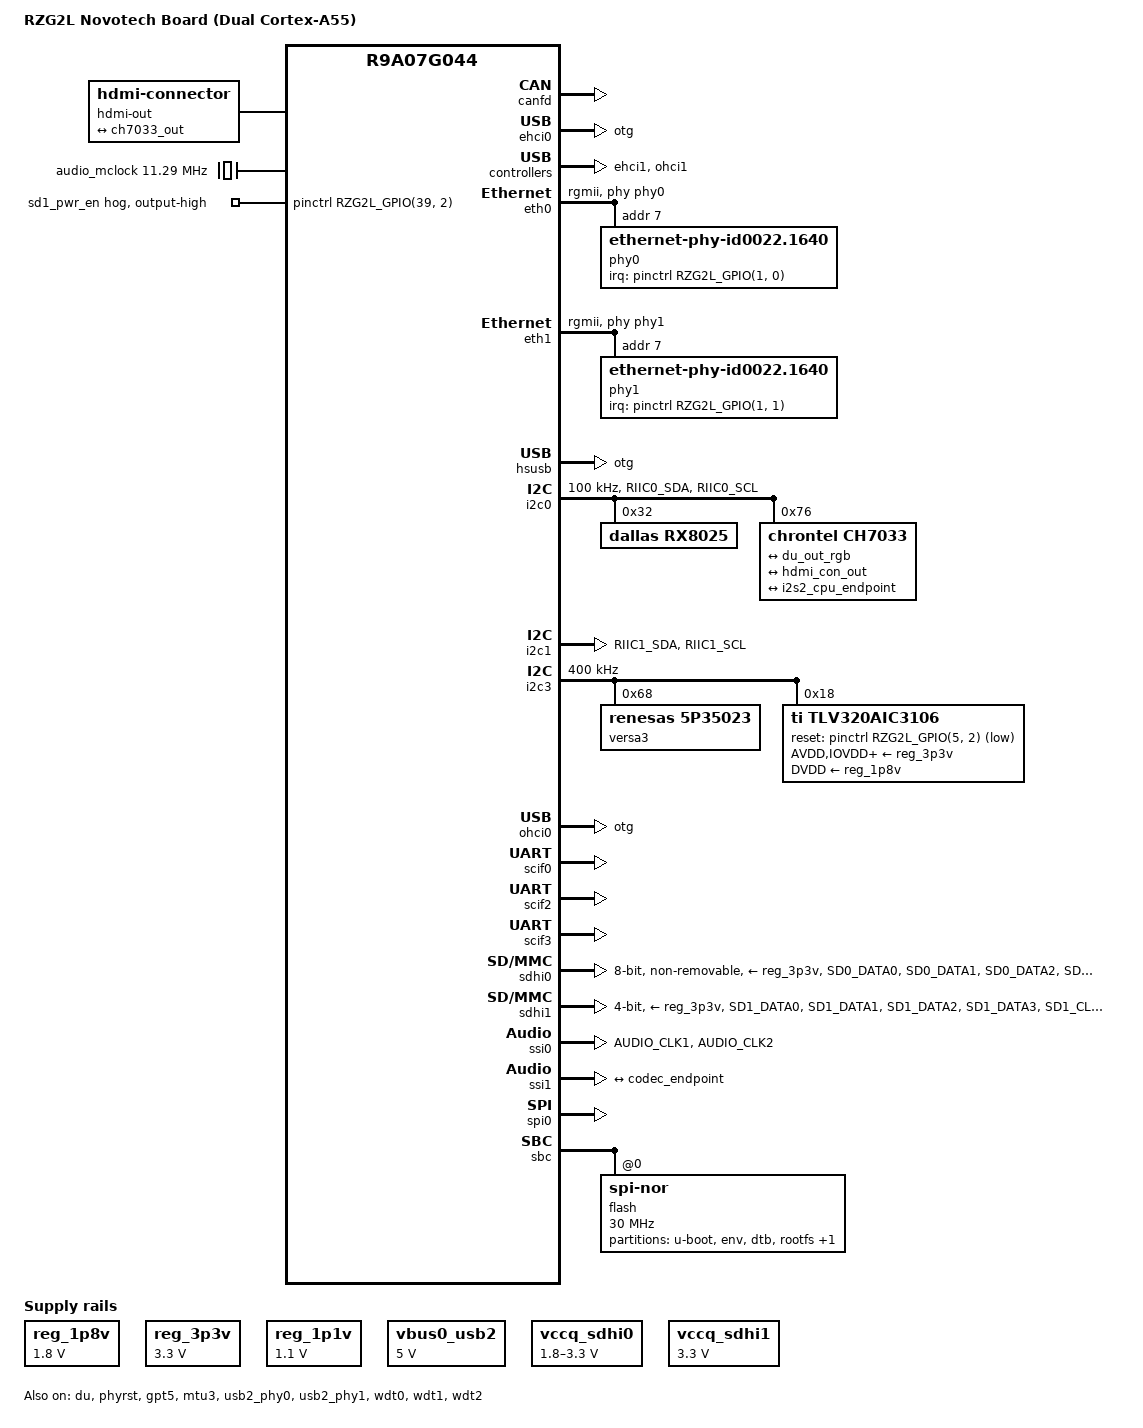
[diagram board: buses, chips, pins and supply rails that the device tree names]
// SPDX-License-Identifier: (GPL-2.0-only OR BSD-2-Clause)
/*
 * Device Tree Source for the RZ/G2L Novotech customized board (based on SMARC EVK board)
 *
 * Copyright (C) 2021 Renesas Electronics Corp.
 */
 
/dts-v1/;

#include <dt-bindings/gpio/gpio.h>
#include <dt-bindings/pinctrl/rzg2l-pinctrl.h>
#include "r9a07g044l2.dtsi"

/ {
	model = "RZG2L Novotech Board (Dual Cortex-A55)";
	compatible = "renesas,r9a07g044l2-novotech", "renesas,smarc-evk", "renesas,r9a07g044l2", "renesas,r9a07g044";

	aliases {
		i2c0 = &i2c0;
		i2c1 = &i2c1;
		i2c3 = &i2c3;
		serial0 = &scif0;
		serial2 = &scif2;
		ethernet0 = &eth0;
		ethernet1 = &eth1;
	};

	chosen {
		bootargs = "ignore_loglevel";
		stdout-path = "serial0:115200n8";
	};

	hdmi-out {
		compatible = "hdmi-connector";
		type = "a";

		port {
			hdmi_con_out: endpoint {
				remote-endpoint = <&ch7033_out>;
			};
		};
	};

	audio_mclock: audio_mclock {
		compatible = "fixed-clock";
		#clock-cells = <0>;
		clock-frequency = <11289600>;
	};

	reg_1p8v: regulator0 {
		compatible = "regulator-fixed";
		regulator-name = "fixed-1.8V";
		regulator-min-microvolt = <1800000>;
		regulator-max-microvolt = <1800000>;
		regulator-boot-on;
		regulator-always-on;
	};

	reg_3p3v: regulator1 {
		compatible = "regulator-fixed";

		regulator-name = "fixed-3.3V";
		regulator-min-microvolt = <3300000>;
		regulator-max-microvolt = <3300000>;
		regulator-boot-on;
		regulator-always-on;
	};
	
	reg_1p1v: regulator-vdd-core {
		compatible = "regulator-fixed";
		regulator-name = "fixed-1.1V";
		regulator-min-microvolt = <1100000>;
		regulator-max-microvolt = <1100000>;
		regulator-boot-on;
		regulator-always-on;
	};

	reserved-memory {
		#address-cells = <2>;
		#size-cells = <2>;
		ranges;

		global_cma: linux,cma@58000000 {
			compatible = "shared-dma-pool";
			linux,cma-default;
			reusable;
			reg = <0x0 0x58000000 0x0 0x10000000>;
		};
				
		mmp_reserved: linux,multimedia {
			compatible = "shared-dma-pool";
			reusable;
			reg = <0x00000000 0x68000000 0x0 0x8000000>;
		};
	};

	mmngr {
		compatible = "renesas,mmngr";
		memory-region = <&mmp_reserved>;
	};

	mmngrbuf {
		compatible = "renesas,mmngrbuf";
	};
	
	vspm_if {
		compatible = "renesas,vspm_if";
	};

	vbus0_usb2: regulator-vbus0-usb2 {
		compatible = "regulator-fixed";

		regulator-name = "USB20_VBUS0";
		regulator-min-microvolt = <5000000>;
		regulator-max-microvolt = <5000000>;
	};

	snd_rzg2l: sound {
		compatible = "simple-audio-card";
		simple-audio-card,format = "i2s";
		simple-audio-card,bitclock-master = <&cpu_dai>;
		simple-audio-card,frame-master = <&cpu_dai>;
		simple-audio-card,mclk-fs = <256>;

		simple-audio-card,widgets =
			"Headphone", "Headphone Jack",
			"Line", "Line In";
		simple-audio-card,routing =
			"Headphone Jack",	"HPLOUT",
			"Headphone Jack",	"HPROUT",
			"LINE1L",		"Line In",
			"LINE1R",		"Line In";

		cpu_dai: simple-audio-card,cpu {
			sound-dai = <&ssi0>;
		};

		codec_dai: simple-audio-card,codec {
			sound-dai = <&tlv320aic3106>;
			clocks = <&versa3 0>;
		};
	};

	sound_card {
		compatible = "audio-graph-card";
		mclk-fs = <256>;
		dais = <&ssi1>;
	};

	vccq_sdhi0: regulator-vccq-sdhi0 {
		compatible = "regulator-gpio";

		regulator-name = "SDHI0 VccQ";
		regulator-min-microvolt = <1800000>;
		regulator-max-microvolt = <3300000>;
		states = <3300000 1>, <1800000 0>;
		regulator-boot-on;
		gpios = <&pinctrl RZG2L_GPIO(39, 0) GPIO_ACTIVE_HIGH>;
		regulator-always-on;
	};

	vccq_sdhi1: regulator-vccq-sdhi1 {
		compatible = "regulator-fixed";

		regulator-name = "SDHI1 VccQ";
		regulator-min-microvolt = <3300000>;
		regulator-max-microvolt = <3300000>;
		regulator-boot-on;
		regulator-always-on;
	};

	/* Read Only File system in QSPI Example */
	/* File System in XIP QSPI */
	/* Remember, we'll be in QSPI XIP mode at this point */
	/* Requires CONFIG_MTD_ROM=y */
	
	qspi@20000000 {
		compatible = "mtd-rom";
		//probe-type = "map_rom";
		probe-type = "direct-mapped";   // XIP from QSPI
		reg = <0 0x20000000 0 0x4000000>;   /* 64 MB*/
		bank-width = <4>;
		device-width = <1>;

		#address-cells = <1>;
		#size-cells = <1>;

		partition@800000 {
			label ="rootfs_xipcramfs";
			reg = <0x0800000 0x1000000>; /* 16MB @ 0x20800000 */
			read-only;
		};
	};

	x1_clk: x1-clock {
		compatible = "fixed-clock";
		#clock-cells = <0>;
		clock-frequency = <24000000>;
	};
};

&audio_clk1 {
	clock-frequency = <11289600>;
};

&audio_clk2 {
	clock-frequency = <12288000>;
};

&adc {
	status = "disabled";
};

&canfd {
	pinctrl-0 = <&can1_pins>;
	pinctrl-names = "default";
	renesas,no-can-fd;

	status = "okay";

	channel0 {
		status = "disabled";
	};

	channel1 {
		status = "okay";
	};
};

&dsi0 {
	status = "disabled";
};

&du {
	pinctrl-0 = <&du_pins>;
	pinctrl-names = "default";
	status = "okay";
	
	ports {
		port@0 {
			du_out_rgb: endpoint {
				remote-endpoint = <&ch7033_in>;
			};
		};
	};
};

&ehci0 {
	dr_mode = "otg";
	memory-region = <&global_cma>;

	status = "okay";
};

&ehci1 {
	memory-region = <&global_cma>;

	status = "okay";
};

&phyrst {
        status = "okay";
};

&eth0 {
	pinctrl-0 = <&eth0_pins>;
	pinctrl-names = "default";
	phy-handle = <&phy0>;
	phy-mode = "rgmii";
	status = "okay";
	no-ether-link;

	phy0: ethernet-phy@7 {
		compatible = "ethernet-phy-id0022.1640",
			     "ethernet-phy-ieee802.3-c22";
		reg = <7>;
		max-speed = <100>;
		interrupt-parent = <&pinctrl>;
		interrupts = <RZG2L_GPIO(1, 0) IRQ_TYPE_EDGE_FALLING>;
	};
};

&eth1 {
	pinctrl-0 = <&eth1_pins>;
	pinctrl-names = "default";
	phy-handle = <&phy1>;
	phy-mode = "rgmii";
	status = "okay";
	no-ether-link;

	phy1: ethernet-phy@7 {
		compatible = "ethernet-phy-id0022.1640",
			     "ethernet-phy-ieee802.3-c22";
		reg = <7>;		
		interrupt-parent = <&pinctrl>;
		interrupts = <RZG2L_GPIO(1, 1) IRQ_TYPE_EDGE_FALLING>;
	};
};

&hsusb {
	dr_mode = "otg";
	status = "okay";
};

&i2c0 {
	pinctrl-0 = <&i2c0_pins>;
	pinctrl-names = "default";

	clock-frequency = <100000>;
	status = "okay";
	
	rx8025: rtc@32 {
		compatible = "dallas,rx8025";
		reg = <0x32>;
		trickle-resistor-ohms = <250>;
	};

	ch7033: ch7033@76 {
		compatible = "chrontel,ch7033";
		reg = <0x76>;
		
		#sound-dai-cells = <0>;
		clocks = <&versa3 3>;

		ports {
			#address-cells = <1>;
			#size-cells = <0>;

			port@0 {
				reg = <0>;
				ch7033_in: endpoint {
					remote-endpoint = <&du_out_rgb>;
				};
			};

			port@1 {
				reg = <1>;
				ch7033_out: endpoint {
					remote-endpoint = <&hdmi_con_out>;
				};
			};
			
			port@2 {
				reg = <2>;
				codec_endpoint: endpoint {
					remote-endpoint = <&i2s2_cpu_endpoint>;
				};
			};
		};
	};
};

&i2c1 {
	pinctrl-0 = <&i2c1_pins>;
	pinctrl-names = "default";

	status = "okay";
};

&i2c3 {
	pinctrl-0 = <&i2c3_pins>;
	pinctrl-names = "default";

	clock-frequency = <400000>;
	status = "okay";

	versa3: versa3@68 {
		compatible = "renesas,5p35023";
		reg = <0x68>;
		#clock-cells = <1>;
		clocks = <&x1_clk>;
		clock-names = "x1";
		assigned-clocks = <&versa3 0>,
				   <&versa3 1>,
				   <&versa3 2>,
				   <&versa3 3>,
				   <&versa3 4>,
				   <&versa3 5>;
		assigned-clock-rates =	<12288000>, <25000000>,
					<12000000>, <11289600>,
					<11289600>, <24000000>;
		clock-divider-read-only = <1>, <1>, <1>, <1>, <1>;
		clock-flags = <2176>, <2176>, <2176>, <2052>, <2176>, <2048>;
	};
	
	tlv320aic3106: tlv320aic3106@18 {
		#sound-dai-cells = <0>;
		compatible = "ti,tlv320aic3106";
		reg = <0x18>;
		status = "okay";
		ai3x-micbias-vg = <2>;

		reset-gpios = <&pinctrl RZG2L_GPIO(5, 2) GPIO_ACTIVE_LOW>;

		/* Regulators */
		AVDD-supply = <&reg_3p3v>;
		IOVDD-supply = <&reg_3p3v>;
		DRVDD-supply = <&reg_3p3v>;
		DVDD-supply = <&reg_1p8v>;
	};
};

&ohci0 {
	dr_mode = "otg";
	memory-region = <&global_cma>;

	status = "okay";
};

&ohci1 {
	memory-region = <&global_cma>;

	status = "okay";
};

&pinctrl {
	eth0_pins: eth0 {
		pinmux = <RZG2L_PORT_PINMUX(28, 1, 1)>, /* ET0_LINKSTA */
			 <RZG2L_PORT_PINMUX(27, 1, 1)>, /* ET0_MDC */
			 <RZG2L_PORT_PINMUX(28, 0, 1)>, /* ET0_MDIO */
			 <RZG2L_PORT_PINMUX(20, 0, 1)>, /* ET0_TXC */
			 <RZG2L_PORT_PINMUX(20, 1, 1)>, /* ET0_TX_CTL */
			 <RZG2L_PORT_PINMUX(20, 2, 1)>, /* ET0_TXD0 */
			 <RZG2L_PORT_PINMUX(21, 0, 1)>, /* ET0_TXD1 */
			 <RZG2L_PORT_PINMUX(21, 1, 1)>, /* ET0_TXD2 */
			 <RZG2L_PORT_PINMUX(22, 0, 1)>, /* ET0_TXD3 */
			 <RZG2L_PORT_PINMUX(24, 0, 1)>, /* ET0_RXC */
			 <RZG2L_PORT_PINMUX(24, 1, 1)>, /* ET0_RX_CTL */
			 <RZG2L_PORT_PINMUX(25, 0, 1)>, /* ET0_RXD0 */
			 <RZG2L_PORT_PINMUX(25, 1, 1)>, /* ET0_RXD1 */
			 <RZG2L_PORT_PINMUX(26, 0, 1)>, /* ET0_RXD2 */
			 <RZG2L_PORT_PINMUX(26, 1, 1)>, /* ET0_RXD3 */
			 <RZG2L_PORT_PINMUX(27, 0, 1)>; /* ET0_RX_ERR */
	};

	eth1_pins: eth1 {
		pinmux = <RZG2L_PORT_PINMUX(37, 2, 1)>, /* ET1_LINKSTA */
			 <RZG2L_PORT_PINMUX(37, 0, 1)>, /* ET1_MDC */
			 <RZG2L_PORT_PINMUX(37, 1, 1)>, /* ET1_MDIO */
			 <RZG2L_PORT_PINMUX(29, 0, 1)>, /* ET1_TXC */
			 <RZG2L_PORT_PINMUX(29, 1, 1)>, /* ET1_TX_CTL */
			 <RZG2L_PORT_PINMUX(30, 0, 1)>, /* ET1_TXD0 */
			 <RZG2L_PORT_PINMUX(30, 1, 1)>, /* ET1_TXD1 */
			 <RZG2L_PORT_PINMUX(31, 0, 1)>, /* ET1_TXD2 */
			 <RZG2L_PORT_PINMUX(31, 1, 1)>, /* ET1_TXD3 */
			 <RZG2L_PORT_PINMUX(33, 1, 1)>, /* ET1_RXC */
			 <RZG2L_PORT_PINMUX(34, 0, 1)>, /* ET1_RX_CTL */
			 <RZG2L_PORT_PINMUX(34, 1, 1)>, /* ET1_RXD0 */
			 <RZG2L_PORT_PINMUX(35, 0, 1)>, /* ET1_RXD1 */
			 <RZG2L_PORT_PINMUX(35, 1, 1)>, /* ET1_RXD2 */
			 <RZG2L_PORT_PINMUX(36, 0, 1)>, /* ET1_RXD3 */
			 <RZG2L_PORT_PINMUX(36, 1, 1)>; /* ET1_RX_ERR */
	};
	
	can1_pins: can1 {
		pinmux = <RZG2L_PORT_PINMUX(44, 0, 3)>, /* TX */
			 <RZG2L_PORT_PINMUX(44, 1, 3)>; /* RX */
	};

	i2c0_pins: i2c0 {
		pins = "RIIC0_SDA", "RIIC0_SCL";
		input-enable;
	};

	i2c1_pins: i2c1 {
		pins = "RIIC1_SDA", "RIIC1_SCL";
		input-enable;
	};

	i2c3_pins: i2c3 {
		pinmux = <RZG2L_PORT_PINMUX(18, 0, 3)>, /* SDA */
			 <RZG2L_PORT_PINMUX(18, 1, 3)>; /* SCL */
	};

	scif0_pins: scif0 {
		pinmux = <RZG2L_PORT_PINMUX(38, 0, 1)>,	/* TxD */
			 <RZG2L_PORT_PINMUX(38, 1, 1)>;	/* RxD */
	};

	scif2_pins: scif2 {
		pinmux = <RZG2L_PORT_PINMUX(48, 0, 1)>, /* TxD */
			 <RZG2L_PORT_PINMUX(48, 1, 1)>, /* RxD */
			 <RZG2L_PORT_PINMUX(48, 3, 1)>, /* CTS# */
			 <RZG2L_PORT_PINMUX(48, 4, 1)>; /* RTS# */
	};

	scif3_pins: scif3 {
		pinmux = <RZG2L_PORT_PINMUX(0, 0, 5)>, /* TxD */
			 <RZG2L_PORT_PINMUX(0, 1, 5)>; /* RxD */
	};

	gpt5_pins: gpt5 {
		pinmux = <RZG2L_PORT_PINMUX(43, 2, 2)>; /* Channel A */
	};

	sd1_pwr_en {
		gpio-hog;
		gpios = <RZG2L_GPIO(39, 2) GPIO_ACTIVE_HIGH>;
		output-high;
		line-name = "sd1_pwr_en";
	};
	
	sdhi0_emmc_pins: sd0emmc {
		sd0_emmc_data {
			pins = "SD0_DATA0", "SD0_DATA1", "SD0_DATA2", "SD0_DATA3",
			       "SD0_DATA4", "SD0_DATA5", "SD0_DATA6", "SD0_DATA7";
			power-source  = <1800>;
		};

		sd0_emmc_ctrl {
			pins = "SD0_CLK", "SD0_CMD";
			power-source  = <1800>;
		};

		sd0_emmc_rst {
			pins = "SD0_RST#";
			power-source = <1800>;
		};
	};

	sdhi1_pins: sd1 {
		sd1_data {
			pins = "SD1_DATA0", "SD1_DATA1", "SD1_DATA2", "SD1_DATA3";
			power-source  = <3300>;
		};

		sd1_ctrl {
			pins = "SD1_CLK", "SD1_CMD";
			power-source  = <3300>;
		};

		sd1_mux {
			pinmux = <RZG2L_PORT_PINMUX(19, 0, 1)>;
		};
	};

	sdhi1_pins_uhs: sd1_uhs {
		sd1_data_uhs {
			pins = "SD1_DATA0", "SD1_DATA1", "SD1_DATA2", "SD1_DATA3";
			power-source  = <1800>;
		};

		sd1_ctrl_uhs {
			pins = "SD1_CLK", "SD1_CMD";
			power-source  = <1800>;
		};

		sd1_mux_uhs {
			pinmux = <RZG2L_PORT_PINMUX(19, 0, 1)>;
		};
	};

	sound_clk_pins: sound_clk {
		pins = "AUDIO_CLK1", "AUDIO_CLK2";
		input-enable;
	};

	ssi0_pins: ssi0 {
		pinmux = <RZG2L_PORT_PINMUX(45, 0, 1)>, /* BCK */
			 <RZG2L_PORT_PINMUX(45, 1, 1)>, /* RCK */
			 <RZG2L_PORT_PINMUX(45, 2, 1)>, /* TXD */
			 <RZG2L_PORT_PINMUX(45, 3, 1)>; /* RXD */
	};
	
	ssi1_pins: ssi1 {
		pinmux = <RZG2L_PORT_PINMUX(46, 0, 1)>, /* BCK */
			 <RZG2L_PORT_PINMUX(46, 1, 1)>, /* RCK */
			 <RZG2L_PORT_PINMUX(46, 2, 1)>, /* TXD */
			 <RZG2L_PORT_PINMUX(46, 3, 1)>; /* RXD */
	};
	
	usb0_pins: usb0 {
		pinmux = <RZG2L_PORT_PINMUX(4, 0, 1)>, /* VBUS */
			 <RZG2L_PORT_PINMUX(5, 0, 1)>, /* OVC */
			 <RZG2L_PORT_PINMUX(5, 1, 1)>; /* OTG_ID */
	};
	
	usb1_pins: usb1 {
		pinmux = <RZG2L_PORT_PINMUX(42, 0, 1)>, /* VBUS */
			 <RZG2L_PORT_PINMUX(42, 1, 1)>; /* OVC */
	};
	
	spi0_pins: rspi0 {
		pinmux = <RZG2L_PORT_PINMUX(47, 0, 5)>, /* CK */
			 <RZG2L_PORT_PINMUX(47, 1, 5)>, /* MOSI */
			 <RZG2L_PORT_PINMUX(47, 2, 5)>, /* MISO */
			 <RZG2L_PORT_PINMUX(47, 3, 5)>; /* SSL */
	};
	
	du_pins: du {
		groups = "disp_bgr888", "disp_sync", "disp_de", "disp_clk";
		function = "disp";
		data {
			pinmux = <RZG2L_PORT_PINMUX(7, 2, 1)>,
				 <RZG2L_PORT_PINMUX(8, 0, 1)>,
				 <RZG2L_PORT_PINMUX(8, 1, 1)>,
				 <RZG2L_PORT_PINMUX(8, 2, 1)>,
				 <RZG2L_PORT_PINMUX(9, 0, 1)>,
				 <RZG2L_PORT_PINMUX(9, 1, 1)>,
				 <RZG2L_PORT_PINMUX(10, 0, 1)>,
				 <RZG2L_PORT_PINMUX(10, 1, 1)>,
				 <RZG2L_PORT_PINMUX(11, 0, 1)>,
				 <RZG2L_PORT_PINMUX(11, 1, 1)>,
				 <RZG2L_PORT_PINMUX(12, 0, 1)>,
				 <RZG2L_PORT_PINMUX(12, 1, 1)>,
				 <RZG2L_PORT_PINMUX(13, 0, 1)>,
				 <RZG2L_PORT_PINMUX(13, 1, 1)>,
				 <RZG2L_PORT_PINMUX(13, 2, 1)>,
				 <RZG2L_PORT_PINMUX(14, 0, 1)>,
				 <RZG2L_PORT_PINMUX(14, 1, 1)>,
				 <RZG2L_PORT_PINMUX(15, 0, 1)>,
				 <RZG2L_PORT_PINMUX(15, 1, 1)>,
				 <RZG2L_PORT_PINMUX(16, 0, 1)>,
				 <RZG2L_PORT_PINMUX(16, 1, 1)>,
				 <RZG2L_PORT_PINMUX(17, 0, 1)>,
				 <RZG2L_PORT_PINMUX(17, 1, 1)>,
				 <RZG2L_PORT_PINMUX(17, 2, 1)>;
			drive-strength = <2>;
		};

		sync {
			pinmux = <RZG2L_PORT_PINMUX(6, 1, 1)>, /* HSYNC */
				 <RZG2L_PORT_PINMUX(7, 0, 1)>; /* VSYNC */
			drive-strength = <2>;
		};

		de {
			pinmux = <RZG2L_PORT_PINMUX(7, 1, 1)>; /* DE */
			drive-strength = <2>;
		};

		clk {
			pinmux = <RZG2L_PORT_PINMUX(6, 0, 1)>; /* CLK */
		};
	};
};

&scif0 {
	pinctrl-0 = <&scif0_pins>;
	pinctrl-names = "default";
	status = "okay";
};

&scif2 {
	pinctrl-0 = <&scif2_pins>;
	pinctrl-names = "default";
	uart-has-rtscts;
	status = "okay";
};

&scif3 {
	pinctrl-0 = <&scif3_pins>;
	pinctrl-names = "default";
	status = "okay";
};

&gpt5 {
	pinctrl-0 = <&gpt5_pins>;
	pinctrl-names = "default";
	channel="channel_A";
	status = "okay";
};


&sdhi0 {
	pinctrl-0 = <&sdhi0_emmc_pins>;
	pinctrl-1 = <&sdhi0_emmc_pins>;
	pinctrl-names = "default", "state_uhs";

	vmmc-supply = <&reg_3p3v>;
	vqmmc-supply = <&reg_1p8v>;
	bus-width = <8>;
	mmc-hs200-1_8v;
	non-removable;
	fixed-emmc-driver-type = <1>;
	status = "okay";
};

&sdhi1 {
	pinctrl-0 = <&sdhi1_pins>;
	pinctrl-1 = <&sdhi1_pins_uhs>;
	pinctrl-names = "default", "state_uhs";

	vmmc-supply = <&reg_3p3v>;
	vqmmc-supply = <&vccq_sdhi1>;

	bus-width = <4>;
	
	/* sd-uhs-sdr50; */
	/* sd-uhs-sdr104; */

	/* max-frequency = <52000000>; */
	/* cap-sd-highspeed; */
	no-1-8-v;
	
	status = "okay";
};

&mtu3 {
	status = "okay";
};

&ssi0 {
	pinctrl-0 = <&ssi0_pins &sound_clk_pins>;
	pinctrl-names = "default";

	status = "okay";
};

&ssi1 {
	pinctrl-0 = <&ssi1_pins>;
	pinctrl-names = "default";

	status = "okay";

	ports {
		i2s2_port0: port@0 {
			i2s2_cpu_endpoint: endpoint {
				remote-endpoint = <&codec_endpoint>;
				dai-format = "i2s";
			};
		};
	};
};

&usb2_phy0 {
	pinctrl-0 = <&usb0_pins>;
	pinctrl-names = "default";

	vbus-supply = <&vbus0_usb2>;
	status = "okay";
};

&usb2_phy1 {
	pinctrl-0 = <&usb1_pins>;
	pinctrl-names = "default";

	status = "okay";
};

&extal_clk {
	clock-frequency = <24000000>;
};

&wdt0 {
	status = "okay";
	timeout-sec = <60>;
};

&wdt1 {
	status = "okay";
	timeout-sec = <60>;
};

&wdt2 {
	status = "okay";
	timeout-sec = <60>;
};

&spi0 {
	pinctrl-0 = <&spi0_pins>;
	pinctrl-names = "default";
	status = "okay";
/*
	dmas = <&dma0 0xa601>,
	       <&dma0 0xa602>;
	dma-names = "tx", "rx";
*/
};

/* Delete our XIP QSPI partitions from the top of this file. You would not have these for non-XIP systems */
/ {
        /delete-node/ qspi@20000000;
};

&sbc {
status = "okay";

	flash@0 {
		compatible = "jedec,spi-nor";
		reg = <0>;
		spi-max-frequency = <30000000>;

		spi-tx-bus-width = <4>;
		spi-rx-bus-width = <4>;

		/* SPI Mode 3 */
		spi-cpol;
		spi-cpha;
		m25p,fast-read;
		partitions {
			compatible = "fixed-partitions";
			#address-cells = <2>;
			#size-cells = <2>;

			partition@0000000 {
				label = "u-boot";
				reg = <0 0x00000000 0 0x80000>;
				read-only;
			};
			partition@80000 {
				label = "env";
				reg = <0 0x00080000 0 0x40000>;
				read-only;
			};
			partition@C0000 {
				label = "dtb";
				reg = <0 0x000C0000 0 0x40000>;
				read-only;
			};
			partition@800000 {
				label = "rootfs";
				/* 16MB @ 8MB offset in SPI Flash */
				reg = <0 0x00800000 0 0x01000000>;
			};
			partition@2000000 {
				label = "test-area";
				reg = <0 0x02000000 0 0x00100000>;
			};
		};
	};
};

&gpu {
	mali-supply = <&reg_1p1v>;
};
